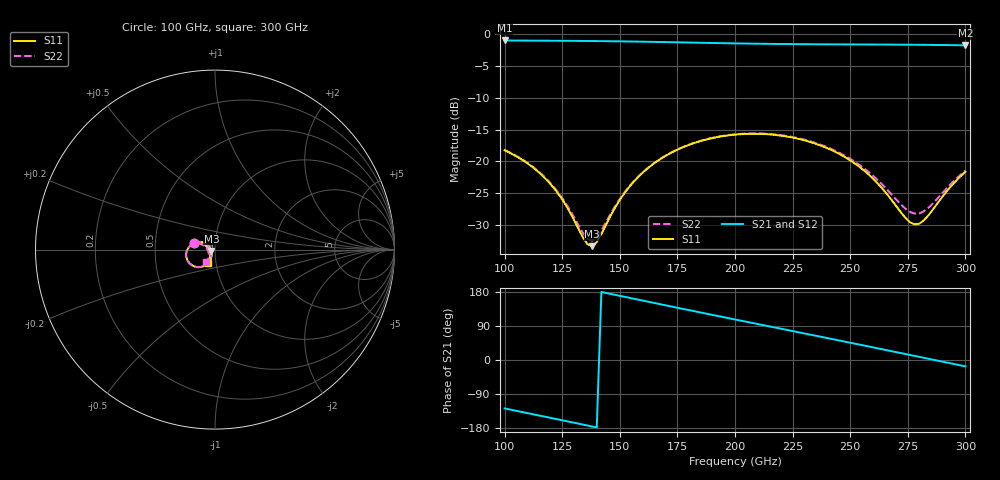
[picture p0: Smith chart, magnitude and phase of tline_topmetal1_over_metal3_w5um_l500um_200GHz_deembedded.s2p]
! Created with skrf 2.2.0 (http://scikit-rf.org).
# GHz S DB R 50.0
! Port[1] = P1
! Port[2] = P2
!freq dBS11 angS11 dBS21 angS21 dBS12 angS12 dBS22 angS22
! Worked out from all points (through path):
!   101 points, 100 GHz to 300 GHz, reference 50 ohm
!   highest |S21| = -1.03 dB at 100 GHz (marker M1); lowest = -1.8 dB at 300 GHz (marker M2)
!   group delay of S21, straight-line fit = 3.45 ps
!   lowest |S11| = -33.3 dB at 138 GHz (marker M3), VSWR 1.04, Z = 48 - j0.695 ohm
!   |S11| at or under -10 dB: start of sweep to end of sweep
!   |S22| runs from -32.4 to -15.6 dB; largest |S21 - S12| = 9.5e-14
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100  -18.25 163.0  -1.03 -127.8  -1.03 -127.8  -18.20 164.0
110  -20.31 153.3  -1.06 -140.3  -1.06 -140.3  -20.23 154.6
120  -23.57 147.0  -1.08 -152.8  -1.08 -152.8  -23.43 148.9
126  -26.50 147.8  -1.09 -160.3  -1.09 -160.3  -26.25 150.2
134  -31.91 169.2  -1.11 -170.4  -1.11 -170.4  -31.20 171.4
138  -33.27 -160.5  -1.12 -175.5  -1.12 -175.5  -32.39 -161.2
140  -32.63 -144.7  -1.13 -178.0  -1.13 -178.0  -31.88 -146.9
148  -27.20 -116.2  -1.16 171.9  -1.16 171.9  -27.00 -118.6
154  -24.03 -113.9  -1.19 164.3  -1.19 164.3  -23.94 -115.5
168  -19.53 -122.3  -1.28 146.7  -1.28 146.7  -19.48 -123.0
184  -16.91 -137.7  -1.39 126.7  -1.39 126.7  -16.87 -137.9
200  -15.79 -154.3  -1.49 107.0  -1.49 107.0  -15.74 -154.1
216  -15.79 -170.9  -1.57 87.4  -1.57 87.4  -15.72 -170.3
234  -17.10 171.5  -1.63 65.3  -1.63 65.3  -16.98 172.7
252  -20.30 157.6  -1.66 43.1  -1.66 43.1  -20.05 160.0
260  -22.71 155.1  -1.67 33.2  -1.67 33.2  -22.28 158.4
268  -26.05 160.1  -1.68 23.3  -1.68 23.3  -25.19 164.0
276  -29.53 -175.0  -1.70 13.3  -1.70 13.3  -27.91 -174.5
280  -29.74 -153.8  -1.71 8.2  -1.71 8.2  -28.13 -157.8
284  -28.41 -135.8  -1.73 3.2  -1.73 3.2  -27.23 -142.8
292  -24.63 -120.3  -1.76 -6.8  -1.76 -6.8  -24.17 -127.1
300  -21.62 -118.8  -1.80 -16.8  -1.80 -16.8  -21.43 -124.4
